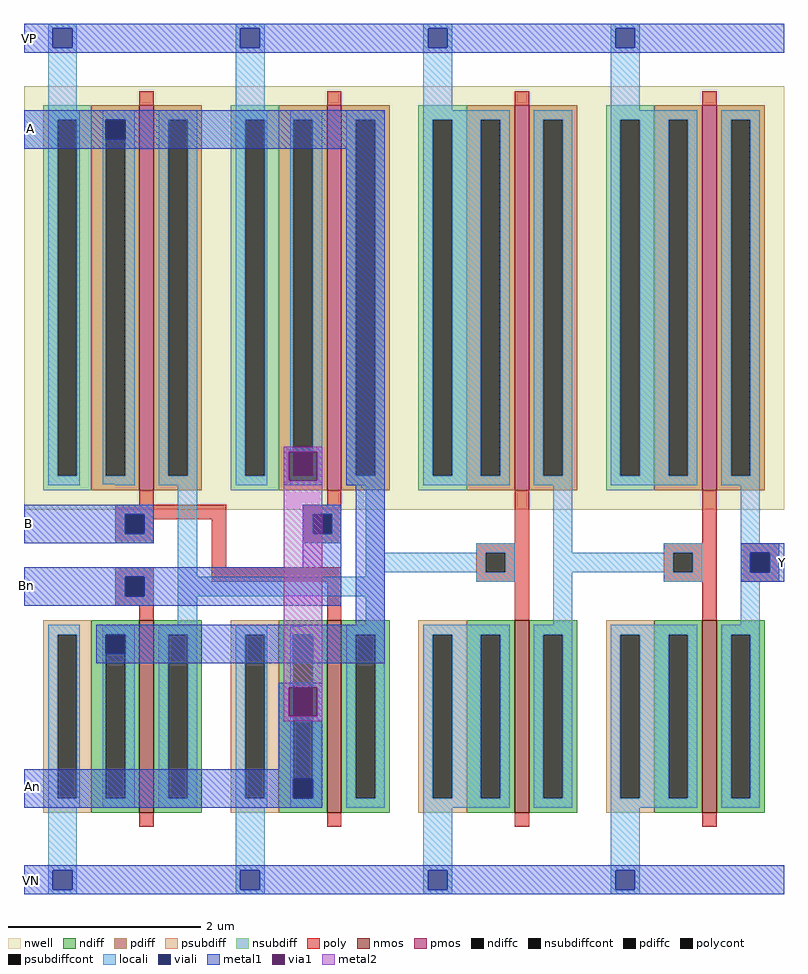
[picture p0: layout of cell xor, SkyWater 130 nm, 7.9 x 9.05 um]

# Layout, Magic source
magic
tech sky130A
<< nwell >>
rect -70 -20 720 420
<< nmos >>
rect 50 -335 65 -135
rect 245 -335 260 -135
rect 440 -335 455 -135
rect 635 -335 650 -135
<< pmos >>
rect 50 0 65 400
rect 245 0 260 400
rect 440 0 455 400
rect 635 0 650 400
<< ndiff >>
rect 0 -150 50 -135
rect 0 -320 15 -150
rect 35 -320 50 -150
rect 0 -335 50 -320
rect 65 -150 115 -135
rect 65 -320 80 -150
rect 100 -320 115 -150
rect 65 -335 115 -320
rect 195 -150 245 -135
rect 195 -320 210 -150
rect 230 -320 245 -150
rect 195 -335 245 -320
rect 260 -150 310 -135
rect 260 -320 275 -150
rect 295 -320 310 -150
rect 260 -335 310 -320
rect 390 -150 440 -135
rect 390 -320 405 -150
rect 425 -320 440 -150
rect 390 -335 440 -320
rect 455 -150 505 -135
rect 455 -320 470 -150
rect 490 -320 505 -150
rect 455 -335 505 -320
rect 585 -150 635 -135
rect 585 -320 600 -150
rect 620 -320 635 -150
rect 585 -335 635 -320
rect 650 -150 700 -135
rect 650 -320 665 -150
rect 685 -320 700 -150
rect 650 -335 700 -320
<< pdiff >>
rect 0 385 50 400
rect 0 15 15 385
rect 35 15 50 385
rect 0 0 50 15
rect 65 385 115 400
rect 65 15 80 385
rect 100 15 115 385
rect 65 0 115 15
rect 195 385 245 400
rect 195 15 210 385
rect 230 15 245 385
rect 195 0 245 15
rect 260 385 310 400
rect 260 15 275 385
rect 295 15 310 385
rect 260 0 310 15
rect 390 385 440 400
rect 390 15 405 385
rect 425 15 440 385
rect 390 0 440 15
rect 455 385 505 400
rect 455 15 470 385
rect 490 15 505 385
rect 455 0 505 15
rect 585 385 635 400
rect 585 15 600 385
rect 620 15 635 385
rect 585 0 635 15
rect 650 385 700 400
rect 650 15 665 385
rect 685 15 700 385
rect 650 0 700 15
<< ndiffc >>
rect 15 -320 35 -150
rect 80 -320 100 -150
rect 210 -320 230 -150
rect 275 -320 295 -150
rect 405 -320 425 -150
rect 470 -320 490 -150
rect 600 -320 620 -150
rect 665 -320 685 -150
<< pdiffc >>
rect 15 15 35 385
rect 80 15 100 385
rect 210 15 230 385
rect 275 15 295 385
rect 405 15 425 385
rect 470 15 490 385
rect 600 15 620 385
rect 665 15 685 385
<< psubdiff >>
rect -50 -150 0 -135
rect -50 -320 -35 -150
rect -15 -320 0 -150
rect -50 -335 0 -320
rect 145 -150 195 -135
rect 145 -320 160 -150
rect 180 -320 195 -150
rect 145 -335 195 -320
rect 340 -150 390 -135
rect 340 -320 355 -150
rect 375 -320 390 -150
rect 340 -335 390 -320
rect 535 -150 585 -135
rect 535 -320 550 -150
rect 570 -320 585 -150
rect 535 -335 585 -320
<< nsubdiff >>
rect -50 385 0 400
rect -50 15 -35 385
rect -15 15 0 385
rect -50 0 0 15
rect 145 385 195 400
rect 145 15 160 385
rect 180 15 195 385
rect 145 0 195 15
rect 340 385 390 400
rect 340 15 355 385
rect 375 15 390 385
rect 340 0 390 15
rect 535 385 585 400
rect 535 15 550 385
rect 570 15 585 385
rect 535 0 585 15
<< psubdiffcont >>
rect -35 -320 -15 -150
rect 160 -320 180 -150
rect 355 -320 375 -150
rect 550 -320 570 -150
<< nsubdiffcont >>
rect -35 15 -15 385
rect 160 15 180 385
rect 355 15 375 385
rect 550 15 570 385
<< poly >>
rect 50 400 65 415
rect 245 400 260 415
rect 440 400 455 415
rect 635 400 650 415
rect 50 -15 65 0
rect 245 -15 260 0
rect 25 -25 140 -15
rect 25 -45 35 -25
rect 55 -30 140 -25
rect 55 -45 65 -30
rect 25 -55 65 -45
rect 125 -80 140 -30
rect 220 -25 260 -15
rect 220 -45 230 -25
rect 250 -45 260 -25
rect 220 -55 260 -45
rect 440 -55 455 0
rect 635 -55 650 0
rect 400 -65 455 -55
rect 25 -90 65 -80
rect 25 -110 35 -90
rect 55 -110 65 -90
rect 125 -95 260 -80
rect 400 -85 410 -65
rect 430 -85 455 -65
rect 400 -95 455 -85
rect 595 -65 650 -55
rect 595 -85 605 -65
rect 625 -85 650 -65
rect 595 -95 650 -85
rect 675 -65 715 -55
rect 675 -85 685 -65
rect 705 -85 715 -65
rect 675 -95 715 -85
rect 25 -120 65 -110
rect 50 -135 65 -120
rect 245 -135 260 -95
rect 440 -135 455 -95
rect 635 -135 650 -95
rect 50 -350 65 -335
rect 245 -350 260 -335
rect 440 -350 455 -335
rect 635 -350 650 -335
<< polycont >>
rect 35 -45 55 -25
rect 230 -45 250 -25
rect 35 -110 55 -90
rect 410 -85 430 -65
rect 605 -85 625 -65
rect 685 -85 705 -65
<< locali >>
rect -45 480 -15 485
rect -45 460 -40 480
rect -20 460 -15 480
rect -45 395 -15 460
rect 150 480 180 485
rect 150 460 155 480
rect 175 460 180 480
rect 150 395 180 460
rect 345 480 375 485
rect 345 460 350 480
rect 370 460 375 480
rect 345 395 375 460
rect 540 480 570 485
rect 540 460 545 480
rect 565 460 570 480
rect 540 395 570 460
rect -45 385 -12 395
rect -45 15 -35 385
rect -15 15 -12 385
rect -45 5 -12 15
rect 12 385 45 395
rect 12 15 15 385
rect 35 15 45 385
rect 12 6 45 15
rect 25 5 45 6
rect 70 385 110 395
rect 70 15 80 385
rect 100 15 110 385
rect 70 5 110 15
rect 150 385 183 395
rect 150 15 160 385
rect 180 15 183 385
rect 150 5 183 15
rect 207 385 240 395
rect 207 15 210 385
rect 230 15 240 385
rect 207 5 240 15
rect 265 385 305 395
rect 265 15 275 385
rect 295 15 305 385
rect 265 5 305 15
rect 345 385 435 395
rect 345 15 355 385
rect 375 15 405 385
rect 425 15 435 385
rect 345 5 435 15
rect 460 385 500 395
rect 460 15 470 385
rect 490 15 500 385
rect 460 5 500 15
rect 540 385 630 395
rect 540 15 550 385
rect 570 15 600 385
rect 620 15 630 385
rect 540 5 630 15
rect 655 385 695 395
rect 655 15 665 385
rect 685 15 695 385
rect 655 5 695 15
rect 25 -25 65 -15
rect 25 -45 35 -25
rect 55 -45 65 -25
rect 25 -55 65 -45
rect 25 -90 65 -80
rect 25 -110 35 -90
rect 55 -110 65 -90
rect 25 -120 65 -110
rect 90 -90 110 5
rect 220 -25 260 -15
rect 220 -45 230 -25
rect 250 -45 260 -25
rect 220 -55 260 -45
rect 285 -65 305 5
rect 400 -65 440 -55
rect 285 -85 410 -65
rect 430 -85 440 -65
rect 285 -90 305 -85
rect 90 -110 305 -90
rect 400 -95 440 -85
rect 480 -65 500 5
rect 675 -55 695 5
rect 595 -65 635 -55
rect 480 -85 605 -65
rect 625 -85 635 -65
rect 90 -140 110 -110
rect 285 -140 305 -110
rect 480 -140 500 -85
rect 595 -95 635 -85
rect 675 -65 715 -55
rect 675 -85 685 -65
rect 705 -85 715 -65
rect 675 -95 715 -85
rect 675 -140 695 -95
rect -45 -150 -12 -140
rect -45 -320 -35 -150
rect -15 -320 -12 -150
rect -45 -330 -12 -320
rect 12 -150 45 -140
rect 12 -320 15 -150
rect 35 -320 45 -150
rect 12 -330 45 -320
rect 70 -150 110 -140
rect 70 -320 80 -150
rect 100 -320 110 -150
rect 70 -330 110 -320
rect 150 -150 183 -140
rect 220 -141 240 -140
rect 150 -320 160 -150
rect 180 -320 183 -150
rect 150 -330 183 -320
rect 207 -150 240 -141
rect 207 -320 210 -150
rect 230 -320 240 -150
rect 207 -330 240 -320
rect 265 -150 305 -140
rect 265 -320 275 -150
rect 295 -320 305 -150
rect 265 -330 305 -320
rect 345 -150 435 -140
rect 345 -320 355 -150
rect 375 -320 405 -150
rect 425 -320 435 -150
rect 345 -330 435 -320
rect 460 -150 500 -140
rect 460 -320 470 -150
rect 490 -320 500 -150
rect 460 -330 500 -320
rect 540 -150 630 -140
rect 540 -320 550 -150
rect 570 -320 600 -150
rect 620 -320 630 -150
rect 540 -330 630 -320
rect 655 -150 695 -140
rect 655 -320 665 -150
rect 685 -320 695 -150
rect 655 -330 695 -320
rect -45 -395 -15 -330
rect -45 -415 -40 -395
rect -20 -415 -15 -395
rect -45 -420 -15 -415
rect 150 -395 180 -330
rect 150 -415 155 -395
rect 175 -415 180 -395
rect 150 -420 180 -415
rect 345 -395 375 -330
rect 345 -415 350 -395
rect 370 -415 375 -395
rect 345 -420 375 -415
rect 540 -395 570 -330
rect 540 -415 545 -395
rect 565 -415 570 -395
rect 540 -420 570 -415
<< viali >>
rect -40 460 -20 480
rect 155 460 175 480
rect 350 460 370 480
rect 545 460 565 480
rect 15 365 35 385
rect 210 15 230 35
rect 35 -45 55 -25
rect 35 -110 55 -90
rect 230 -45 250 -25
rect 685 -85 705 -65
rect 15 -170 35 -150
rect 210 -320 230 -300
rect -40 -415 -20 -395
rect 155 -415 175 -395
rect 350 -415 370 -395
rect 545 -415 565 -395
<< metal1 >>
rect -70 480 720 485
rect -70 460 -40 480
rect -20 460 155 480
rect 175 460 350 480
rect 370 460 545 480
rect 565 460 720 480
rect -70 455 720 460
rect -70 385 305 395
rect -70 365 15 385
rect 35 365 305 385
rect -70 355 305 365
rect 200 40 240 45
rect 200 10 205 40
rect 235 10 240 40
rect 200 5 240 10
rect 265 5 305 355
rect -70 -25 65 -15
rect -70 -45 35 -25
rect 55 -45 65 -25
rect -70 -55 65 -45
rect 220 -25 260 -15
rect 220 -45 230 -25
rect 250 -45 260 -25
rect 220 -80 260 -45
rect -70 -90 260 -80
rect -70 -110 35 -90
rect 55 -110 260 -90
rect -70 -120 260 -110
rect 275 -140 305 5
rect 675 -65 720 -55
rect 675 -85 685 -65
rect 705 -85 720 -65
rect 675 -95 720 -85
rect 5 -150 305 -140
rect 5 -170 15 -150
rect 35 -170 305 -150
rect 5 -180 305 -170
rect 195 -205 240 -200
rect 195 -235 205 -205
rect 235 -235 240 -205
rect 195 -290 240 -235
rect -70 -300 240 -290
rect -70 -320 210 -300
rect 230 -320 240 -300
rect -70 -330 240 -320
rect -70 -395 720 -390
rect -70 -415 -40 -395
rect -20 -415 155 -395
rect 175 -415 350 -395
rect 370 -415 545 -395
rect 565 -415 720 -395
rect -70 -420 720 -415
<< via1 >>
rect 205 35 235 40
rect 205 15 210 35
rect 210 15 230 35
rect 230 15 235 35
rect 205 10 235 15
rect 205 -235 235 -205
<< metal2 >>
rect 200 40 240 45
rect 200 10 205 40
rect 235 10 240 40
rect 200 -205 240 10
rect 200 -235 205 -205
rect 235 -235 240 -205
rect 200 -240 240 -235
<< labels >>
rlabel metal1 -65 -35 -65 -35 1 B
port 3 n
rlabel metal1 -67 -99 -67 -99 1 Bn
port 4 n
rlabel metal1 718 -75 718 -75 7 Y
port 7 w
rlabel metal1 -64 470 -64 470 1 VP
port 8 n
rlabel metal1 -63 376 -63 376 1 A
port 9 n
rlabel metal1 -62 -406 -62 -406 1 VN
port 10 n
rlabel metal1 -61 -308 -61 -308 1 An
port 11 n
<< end >>
